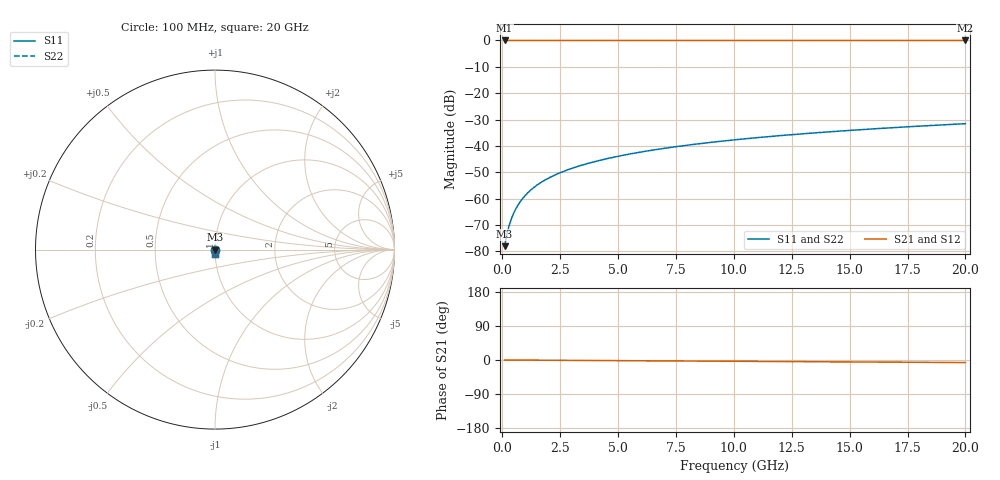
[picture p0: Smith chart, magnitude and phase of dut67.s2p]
! Touchstone file exported from HFSS 2026.1.0
!  File:  C:/ffzhzh/LocalFiles/Ansys_Project_Files/temp_train_TSV_67_1782959166_15332.aedt
!  Generated:  10:27:19 AM Jul  2, 2026
!  Design:  TSV
!  Project:  temp_train_TSV_67_1782959166_15332
! Variables:
!  h_bsmrdl = 2um
!  h_ox = 20um
!  h_rdl = 5um
!  h_sub = 65.87um
!  h_tmrdl = 5um
!  h_tsv = 65.87um
!  h_via = 3um
!  l_bsmrdl = 300um
!  l_sub = 424.92um
!  l_tmrdl = 200um
!  m_sub = 200um
!  pitch = 40.39um
!  r_tsv = 12.46um
!  s_tmrdl = 10um
!  w_bsmrdl = 18um
!  w_sub = 500um
!  w_tmrdl = 12um
!  x_tsv_center1 = 206um
!  x_tsv_center2 = 524um
!  x_tsv_center3 = 736um
!  x_tsv_center4 = 1054um
!  x_tsv_center5 = 1266um
!  x_tsv_center6 = 1584um
# GHz S MA R 50.000000
! Terminal data exported
! Port[1] = TSV1_1_T1
! Port[2] = TSV1_1_T2
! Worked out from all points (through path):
!   200 points, 100 MHz to 20 GHz, reference 50 ohm
!   highest |S21| = 0.00 dB at 100 MHz (marker M1); lowest = 0.0 dB at 20 GHz (marker M2)
!   lowest |S11| = -78.0 dB at 100 MHz (marker M3), VSWR 1.00, Z = 50 - j0.00946 ohm
!   |S11| at or under -10 dB: start of sweep to end of sweep
!   |S22| runs from -78.0 to -31.6 dB; largest |S21 - S12| = 1.2e-15
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0.1  0.0001261 -48.6  0.9999 -0.0  0.9999 -0.0  0.0001261 -48.6
! Gamma 0 0 0 0
! Port Impedance 50 0 50 0
0.2  0.0002145 -63.7  0.9999 -0.1  0.9999 -0.1  0.0002145 -63.7
0.3  0.0003157 -69.2  0.9999 -0.1  0.9999 -0.1  0.0003157 -69.2
0.4  0.0004251 -71.9  0.9999 -0.1  0.9999 -0.1  0.0004251 -71.9
0.5  0.0005408 -73.6  0.9998 -0.2  0.9998 -0.2  0.0005408 -73.6
0.6  0.0006611 -74.8  0.9998 -0.2  0.9998 -0.2  0.0006611 -74.8
0.8  0.0009109 -76.8  0.9998 -0.3  0.9998 -0.3  0.0009109 -76.8
1.1  0.001296 -79.1  0.9997 -0.4  0.9997 -0.4  0.001296 -79.1
1.3  0.001555 -80.3  0.9997 -0.4  0.9997 -0.4  0.001555 -80.3
1.5  0.001814 -81.3  0.9997 -0.5  0.9997 -0.5  0.001814 -81.3
1.8  0.002203 -82.4  0.9997 -0.6  0.9997 -0.6  0.002203 -82.4
2.1  0.002592 -83.3  0.9997 -0.7  0.9997 -0.7  0.002592 -83.3
2.7  0.00337 -84.6  0.9996 -0.9  0.9996 -0.9  0.00337 -84.6
3.5  0.004411 -85.8  0.9996 -1.2  0.9996 -1.2  0.004411 -85.8
4.2  0.005327 -86.5  0.9995 -1.4  0.9995 -1.4  0.005327 -86.5
5  0.006379 -87.2  0.9995 -1.7  0.9995 -1.7  0.006379 -87.2
6.8  0.008763 -88.5  0.9994 -2.3  0.9994 -2.3  0.008763 -88.5
8.3  0.01076 -89.4  0.9993 -2.8  0.9993 -2.8  0.01076 -89.4
10.1  0.01317 -90.3  0.9992 -3.4  0.9992 -3.4  0.01317 -90.3
13.4  0.01758 -91.9  0.999 -4.5  0.999 -4.5  0.01759 -91.9
16.7  0.02201 -93.3  0.9988 -5.6  0.9988 -5.6  0.02201 -93.3
20  0.02645 -94.6  0.9986 -6.7  0.9986 -6.7  0.02645 -94.6
